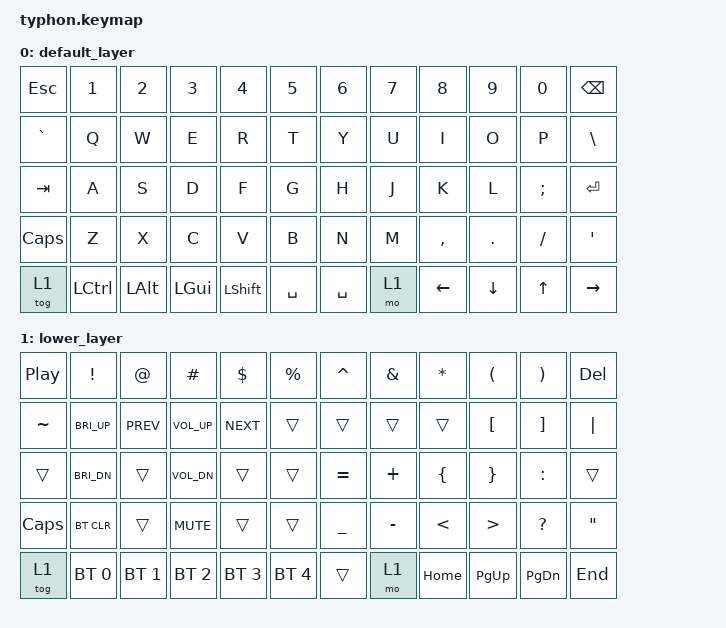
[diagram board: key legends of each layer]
#include <behaviors.dtsi>
#include <dt-bindings/zmk/keys.h>
#include <dt-bindings/zmk/bt.h>

/ {
    keymap {
        compatible = "zmk,keymap";

        default_layer {
            bindings = <
    &kp ESC    &kp N1     &kp N2    &kp N3    &kp N4     &kp N5          &kp N6    &kp N7    &kp N8    &kp N9    &kp N0    &kp BSPC
    &kp GRAVE  &kp Q      &kp W     &kp E     &kp R      &kp T           &kp Y     &kp U     &kp I     &kp O     &kp P     &kp BSLH
    &kp TAB    &kp A      &kp S     &kp D     &kp F      &kp G           &kp H     &kp J     &kp K     &kp L     &kp SEMI  &kp ENTER
    &kp CAPS   &kp Z      &kp X     &kp C     &kp V      &kp B           &kp N     &kp M     &kp COMMA &kp DOT   &kp FSLH  &kp APOS
    &tog 1     &kp LCTRL  &kp LALT  &kp LGUI  &kp LSHFT  &kp SPACE       &kp SPACE &mo 1     &kp LEFT  &kp DOWN  &kp UP    &kp RIGHT
            >;
        };

        lower_layer {
            bindings = <
    &kp C_PP   &kp EXCL     &kp AT       &kp HASH     &kp DLLR     &kp PRCNT       &kp CARET  &kp AMPS  &kp ASTRK &kp LPAR  &kp RPAR  &kp DEL
    &kp TILDE  &kp C_BRI_UP &kp C_PREV   &kp C_VOL_UP &kp C_NEXT   &trans          &trans     &trans    &trans    &kp LBKT  &kp RBKT  &kp PIPE
    &trans     &kp C_BRI_DN &trans       &kp C_VOL_DN &trans       &trans          &kp EQUAL  &kp PLUS  &kp LBRC  &kp RBRC  &kp COLON &trans
    &kp CAPS   &bt BT_CLR   &trans       &kp C_MUTE     &trans       &trans        &kp UNDERSCORE  &kp MINUS &kp LT    &kp GT    &kp QMARK &kp DQT
    &tog 1     &bt BT_SEL 0 &bt BT_SEL 1 &bt BT_SEL 2 &bt BT_SEL 3 &bt BT_SEL 4    &trans     &mo 1     &kp HOME  &kp PG_UP &kp PG_DN &kp END
            >;
        };
    };
};
